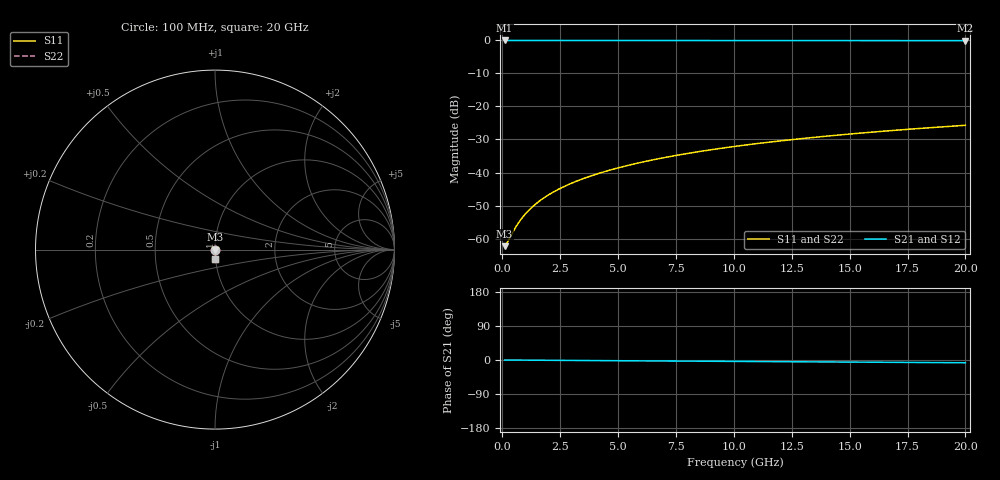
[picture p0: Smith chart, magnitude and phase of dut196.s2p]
! Touchstone file exported from HFSS 2026.1.0
!  File:  C:/ffzhzh/LocalFiles/Ansys_Project_Files/temp_train_BSMRDL_196_1782987639_40604.aedt
!  Generated:  06:21:43 PM Jul  2, 2026
!  Design:  BSMRDL
!  Project:  temp_train_BSMRDL_196_1782987639_40604
! Variables:
!  h_bsmrdl = 4.03um
!  h_ox = 20um
!  h_rdl = 5um
!  h_sub = 80um
!  h_tmrdl = 5um
!  h_tsv = 80um
!  h_via = 3um
!  l_bsmrdl = 111.1um
!  l_sub = 511.1um
!  l_tmrdl = 200um
!  m_sub = 200um
!  pitch = 18.6um
!  r_tsv = 6um
!  s_tmrdl = 10um
!  w_bsmrdl = 17.25um
!  w_sub = 500um
!  w_tmrdl = 12um
!  x_tsv_center1 = 206um
!  x_tsv_center2 = 334.35um
!  x_tsv_center3 = 546.35um
!  x_tsv_center4 = 674.7um
!  x_tsv_center5 = 886.7um
!  x_tsv_center6 = 1015.05um
# GHz S MA R 50.000000
! Terminal data exported
! Port[1] = BSM_RDL1_1_T1
! Port[2] = BSM_RDL1_1_T2
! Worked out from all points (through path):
!   200 points, 100 MHz to 20 GHz, reference 50 ohm
!   highest |S21| = -0.01 dB at 100 MHz (marker M1); lowest = -0.1 dB at 20 GHz (marker M2)
!   group delay of S21, straight-line fit = 1 ps
!   lowest |S11| = -62.3 dB at 100 MHz (marker M3), VSWR 1.00, Z = 50.1 - j0.00764 ohm
!   |S11| at or under -10 dB: start of sweep to end of sweep
!   |S22| runs from -62.3 to -25.7 dB; largest |S21 - S12| = 4.4e-15
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0.1  0.0007662 -5.7  0.9992 -0.0  0.9992 -0.0  0.0007662 -5.7
! Gamma 0 0 0 0
! Port Impedance 50 0 50 0
0.2  0.0008577 -12.2  0.9992 -0.1  0.9992 -0.1  0.0008577 -12.2
0.5  0.001337 -33.0  0.9989 -0.2  0.9989 -0.2  0.001337 -33.0
0.6  0.00153 -38.6  0.9988 -0.3  0.9988 -0.3  0.00153 -38.6
0.8  0.001939 -47.7  0.9987 -0.3  0.9987 -0.3  0.001939 -47.7
0.9  0.00215 -51.2  0.9986 -0.4  0.9986 -0.4  0.00215 -51.2
1.1  0.002581 -56.8  0.9986 -0.4  0.9986 -0.4  0.002581 -56.8
1.4  0.003241 -62.8  0.9985 -0.6  0.9985 -0.6  0.003241 -62.8
1.8  0.004137 -67.9  0.9984 -0.7  0.9984 -0.7  0.004137 -67.9
2.3  0.005277 -71.9  0.9983 -0.9  0.9983 -0.9  0.005277 -71.9
2.9  0.00667 -74.8  0.9981 -1.1  0.9981 -1.1  0.00667 -74.8
3.5  0.008089 -76.8  0.9979 -1.3  0.9979 -1.3  0.008089 -76.8
4.2  0.009777 -78.4  0.9977 -1.6  0.9977 -1.6  0.009777 -78.4
5  0.01175 -79.7  0.9974 -1.9  0.9974 -1.9  0.01175 -79.7
5.9  0.01401 -80.8  0.9971 -2.2  0.9971 -2.2  0.01401 -80.8
6.8  0.01631 -81.7  0.9968 -2.6  0.9968 -2.6  0.01631 -81.7
8.3  0.02022 -83.0  0.9963 -3.1  0.9963 -3.1  0.02022 -83.0
10.1  0.02499 -84.4  0.9956 -3.8  0.9956 -3.8  0.02499 -84.4
11.7  0.02929 -85.5  0.9951 -4.3  0.9951 -4.3  0.02929 -85.5
13.4  0.03389 -86.6  0.9945 -4.9  0.9945 -4.9  0.03389 -86.6
16.7  0.04286 -88.6  0.9935 -6.1  0.9935 -6.1  0.04286 -88.6
20  0.05186 -90.4  0.9924 -7.3  0.9924 -7.3  0.05186 -90.4
